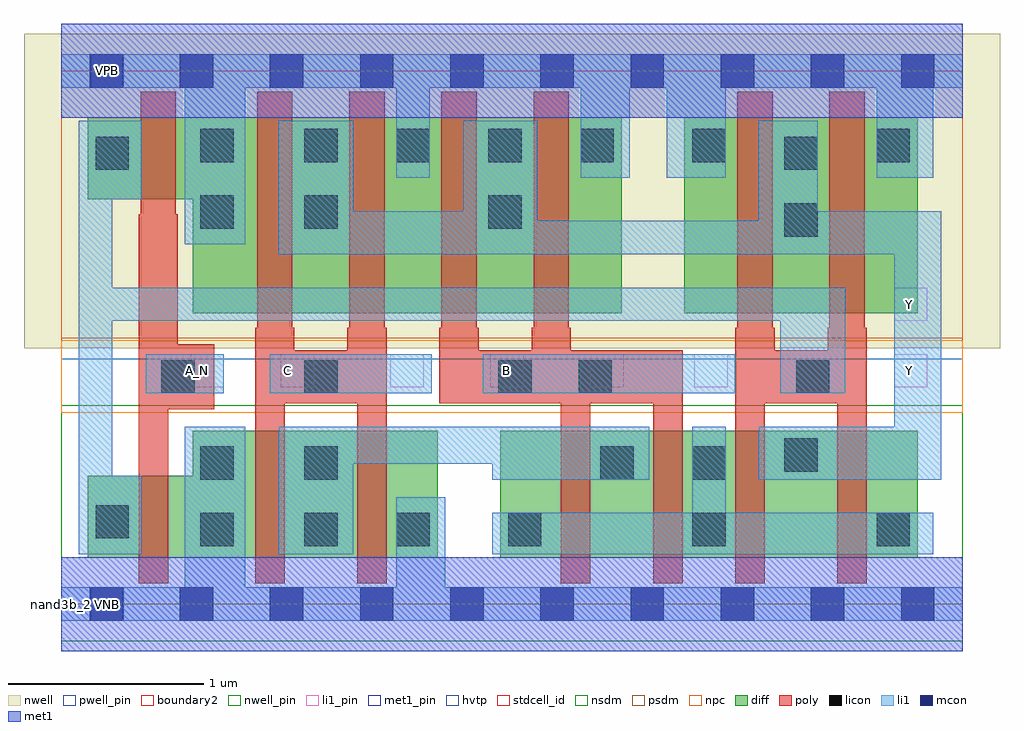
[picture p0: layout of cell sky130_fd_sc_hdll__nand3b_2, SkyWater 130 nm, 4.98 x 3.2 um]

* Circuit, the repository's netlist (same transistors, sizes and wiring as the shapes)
* Copyright 2020 The SkyWater PDK Authors
*
* Licensed under the Apache License, Version 2.0 (the "License");
* you may not use this file except in compliance with the License.
* You may obtain a copy of the License at
*
*     https://www.apache.org/licenses/LICENSE-2.0
*
* Unless required by applicable law or agreed to in writing, software
* distributed under the License is distributed on an "AS IS" BASIS,
* WITHOUT WARRANTIES OR CONDITIONS OF ANY KIND, either express or implied.
* See the License for the specific language governing permissions and
* limitations under the License.
*
* SPDX-License-Identifier: Apache-2.0

.SUBCKT sky130_fd_sc_hdll__nand3b_2 A_N B C VGND VNB VPB VPWR Y
*.PININFO A_N:I B:I C:I VGND:I VNB:I VPB:I VPWR:I Y:O
MMP0 Y A VPWR VPB sky130_fd_pr__pfet_01v8_hvt m=2 w=1.0U l=0.18U mult=1 sa=0.265
+ sb=0.265 sd=0.28 area=0.063 perim=1.14
MMP1 Y B VPWR VPB sky130_fd_pr__pfet_01v8_hvt m=2 w=1.0U l=0.18U mult=1 sa=0.265
+ sb=0.265 sd=0.28 area=0.063 perim=1.14
MMP2 Y C VPWR VPB sky130_fd_pr__pfet_01v8_hvt m=2 w=1.0U l=0.18U mult=1 sa=0.265
+ sb=0.265 sd=0.28 area=0.063 perim=1.14
MMIP0 A A_N VPWR VPB sky130_fd_pr__pfet_01v8_hvt m=1 w=0.42U l=0.18U mult=1 sa=0.265
+ sb=0.265 sd=0.28 area=0.063 perim=1.14
MMN0 Y A sndA VNB sky130_fd_pr__nfet_01v8 m=2 w=0.65U l=0.15U mult=1 sa=0.265 sb=0.265
+ sd=0.28 area=0.063 perim=1.14
MMN1 sndA B sndB VNB sky130_fd_pr__nfet_01v8 m=2 w=0.65U l=0.15U mult=1 sa=0.265
+ sb=0.265 sd=0.28 area=0.063 perim=1.14
MMN2 sndB C VGND VNB sky130_fd_pr__nfet_01v8 m=2 w=0.65U l=0.15U mult=1 sa=0.265
+ sb=0.265 sd=0.28 area=0.063 perim=1.14
MMIN0 A A_N VGND VNB sky130_fd_pr__nfet_01v8 m=1 w=0.42U l=0.15U mult=1 sa=0.265
+ sb=0.265 sd=0.28 area=0.063 perim=1.14
.ENDS sky130_fd_sc_hdll__nand3b_2

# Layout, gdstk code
import gdstk
lib = gdstk.Library(unit=1e-6, precision=1e-09)
def R(c, l, rs):  # rectangles x0, y0, x1, y1
    for r in rs: c.add(gdstk.rectangle(r[:2], r[2:], *l))
def A(c, l, x, y, w, h, nx, ny, dx, dy):  # array of equal rectangles
    R(c, l, [(x+i*dx, y+j*dy, x+i*dx+w, y+j*dy+h) for i in range(nx) for j in range(ny)])
def P(c, l, *ps):  # polygons
    for p in ps: c.add(gdstk.Polygon(p, *l))
nwell_pin = (64, 16)
nwell = (64, 20)
diff = (65, 20)
poly = (66, 20)
licon = (66, 44)
li1_pin = (67, 16)
li1 = (67, 20)
mcon = (67, 44)
met1_pin = (68, 16)
met1 = (68, 20)
hvtp = (78, 44)
stdcell_id = (81, 4)
nsdm = (93, 44)
psdm = (94, 20)
npc = (95, 20)
pwell_pin = (122, 16)
boundary2 = (236, 0)

sky130_fd_sc_hdll__nand3 = lib.new_cell('sky130_fd_sc_hdll__nand3b_2')
R(sky130_fd_sc_hdll__nand3, nwell_pin, [(0.15,2.635,0.32,2.805)])
R(sky130_fd_sc_hdll__nand3, nwell, [(-0.19,1.305,4.79,2.91)])
R(sky130_fd_sc_hdll__nand3, diff, [(2.24,0.235,4.37,0.885), (3.18,1.485,4.37,2.485)])
P(sky130_fd_sc_hdll__nand3, diff, [(2.86,2.485),(0.135,2.485),(0.135,2.065),(0.67,2.065),(0.67,1.485),(2.86,1.485)],
  [(1.92,0.885),(0.67,0.885),(0.67,0.655),(0.135,0.655),(0.135,0.235),(1.92,0.235)])
P(sky130_fd_sc_hdll__nand3, poly, [(0.78,1.325),(0.595,1.325),(0.595,1.99),(0.585,1.99),(0.585,2.615),(0.405,2.615),(0.405,1.99),(0.395,1.99),(0.395,0.105),(0.545,0.105),(0.545,0.995),(0.78,0.995)],
  [(1.66,1.41),(1.65,1.41),(1.65,2.615),(1.47,2.615),(1.47,1.41),(1.46,1.41),(1.46,1.295),(1.19,1.295),(1.19,1.41),(1.18,1.41),(1.18,2.615),(1,2.615),(1,1.41),(0.99,1.41),(0.99,0.105),(1.14,0.105),(1.14,1.025),(1.51,1.025),(1.51,0.105),(1.66,0.105)],
  [(3.17,1.295),(2.6,1.295),(2.6,1.41),(2.59,1.41),(2.59,2.615),(2.41,2.615),(2.41,1.41),(2.4,1.41),(2.4,1.295),(2.13,1.295),(2.13,1.41),(2.12,1.41),(2.12,2.615),(1.94,2.615),(1.94,1.41),(1.93,1.41),(1.93,1.025),(2.55,1.025),(2.55,0.105),(2.7,0.105),(2.7,1.025),(3.02,1.025),(3.02,0.105),(3.17,0.105)],
  [(4.11,1.41),(4.1,1.41),(4.1,2.615),(3.92,2.615),(3.92,1.41),(3.91,1.41),(3.91,1.295),(3.64,1.295),(3.64,1.41),(3.63,1.41),(3.63,2.615),(3.45,2.615),(3.45,1.41),(3.44,1.41),(3.44,0.105),(3.59,0.105),(3.59,1.025),(3.96,1.025),(3.96,0.105),(4.11,0.105)])
A(sky130_fd_sc_hdll__nand3, licon, 2.28, 0.295, 0.17, 0.17, 3, 1, 0.94, 0)
A(sky130_fd_sc_hdll__nand3, licon, 1.24, 2.255, 0.17, 0.17, 4, 1, 0.47, 0)
R(sky130_fd_sc_hdll__nand3, licon, [(0.71,0.295,0.88,0.465), (1.24,0.295,1.41,0.465), (1.71,0.295,1.88,0.465), (0.175,0.335,0.345,0.505), (0.71,0.635,0.88,0.805), (1.24,0.635,1.41,0.805), (2.75,0.635,2.92,0.805), (3.22,0.635,3.39,0.805), (3.69,0.675,3.86,0.845), (0.51,1.075,0.68,1.245), (1.24,1.075,1.41,1.245), (2.23,1.075,2.4,1.245), (2.64,1.075,2.81,1.245), (3.75,1.075,3.92,1.245), (3.69,1.875,3.86,2.045), (0.71,1.915,0.88,2.085), (1.24,1.915,1.41,2.085), (2.18,1.915,2.35,2.085), (0.175,2.215,0.345,2.385), (3.69,2.215,3.86,2.385), (0.71,2.255,0.88,2.425), (3.22,2.255,3.39,2.425), (4.16,2.255,4.33,2.425)])
A(sky130_fd_sc_hdll__nand3, li1_pin, 1.68, 1.105, 0.17, 0.17, 3, 1, 0.51, 0)
R(sky130_fd_sc_hdll__nand3, li1_pin, [(0.66,1.105,0.83,1.275), (1.12,1.105,1.29,1.275), (3.23,1.105,3.4,1.275), (4.25,1.105,4.42,1.275), (4.25,1.445,4.42,1.615)])
R(sky130_fd_sc_hdll__nand3, li1, [(0.43,1.075,0.83,1.275), (1.065,1.075,1.89,1.275), (2.15,1.075,3.44,1.275)])
P(sky130_fd_sc_hdll__nand3, li1, [(3,0.905),(1.11,0.905),(1.11,0.255),(1.49,0.255),(1.49,0.715),(2.2,0.715),(2.2,0.635),(3,0.635)],
  [(4,1.615),(0.26,1.615),(0.26,2.065),(0.41,2.065),(0.41,2.465),(0.09,2.465),(0.09,0.255),(0.41,0.255),(0.41,0.655),(0.26,0.655),(0.26,1.445),(3.67,1.445),(3.67,1.075),(4,1.075)],
  [(4.49,2.005),(3.86,2.005),(3.86,2.465),(3.56,2.465),(3.56,1.955),(2.43,1.955),(2.43,2.465),(2.05,2.465),(2.05,2.005),(1.49,2.005),(1.49,2.465),(1.11,2.465),(1.11,1.785),(4.25,1.785),(4.25,0.905),(3.56,0.905),(3.56,0.635),(4.49,0.635)],
  [(4.6,0.085),(1.96,0.085),(1.96,0.545),(1.71,0.545),(1.71,0.085),(0.94,0.085),(0.94,0.905),(0.63,0.905),(0.63,0.085),(0,0.085),(0,-0.085),(4.6,-0.085)],
  [(4.45,0.465),(3.39,0.465),(3.39,0.905),(3.22,0.905),(3.22,0.465),(2.2,0.465),(2.2,0.255),(4.45,0.255)],
  [(4.6,2.805),(0,2.805),(0,2.635),(0.63,2.635),(0.63,1.835),(0.94,1.835),(0.94,2.635),(1.71,2.635),(1.71,2.175),(1.88,2.175),(1.88,2.635),(2.65,2.635),(2.65,2.175),(2.9,2.175),(2.9,2.635),(3.09,2.635),(3.09,2.175),(3.39,2.175),(3.39,2.635),(4.16,2.635),(4.16,2.175),(4.45,2.175),(4.45,2.635),(4.6,2.635)])
A(sky130_fd_sc_hdll__nand3, mcon, 0.145, -0.085, 0.17, 0.17, 10, 2, 0.46, 2.72)
R(sky130_fd_sc_hdll__nand3, met1_pin, [(0.15,-0.085,0.32,0.085), (0.15,2.635,0.32,2.805)])
R(sky130_fd_sc_hdll__nand3, met1, [(0,-0.24,4.6,0.24), (0,2.48,4.6,2.96)])
R(sky130_fd_sc_hdll__nand3, hvtp, [(0,1.25,4.6,2.72)])
R(sky130_fd_sc_hdll__nand3, stdcell_id, [(0,0,4.6,2.72)])
R(sky130_fd_sc_hdll__nand3, nsdm, [(0,-0.19,4.6,1.015)])
R(sky130_fd_sc_hdll__nand3, psdm, [(0,1.355,4.6,2.91)])
R(sky130_fd_sc_hdll__nand3, npc, [(0,0.975,4.6,1.345)])
R(sky130_fd_sc_hdll__nand3, pwell_pin, [(0.15,-0.085,0.32,0.085)])
R(sky130_fd_sc_hdll__nand3, boundary2, [(0,0,4.6,2.72)])
sky130_fd_sc_hdll__nand3.add(gdstk.Label('Y', (4.33,1.19), layer=67, texttype=5))
sky130_fd_sc_hdll__nand3.add(gdstk.Label('C', (1.155,1.19), layer=67, texttype=5))
sky130_fd_sc_hdll__nand3.add(gdstk.Label('A_N', (0.695,1.19), layer=67, texttype=5))
sky130_fd_sc_hdll__nand3.add(gdstk.Label('B', (2.27,1.19), layer=67, texttype=5))
sky130_fd_sc_hdll__nand3.add(gdstk.Label('Y', (4.33,1.53), layer=67, texttype=5))
sky130_fd_sc_hdll__nand3.add(gdstk.Label('B', (2.27,1.19), layer=67, texttype=5))
sky130_fd_sc_hdll__nand3.add(gdstk.Label('VNB', (0.235,0), layer=64, texttype=59))
sky130_fd_sc_hdll__nand3.add(gdstk.Label('VPB', (0.235,2.72), layer=64, texttype=5))
sky130_fd_sc_hdll__nand3.add(gdstk.Label('VGND', (0.23,0), layer=68, texttype=5))
sky130_fd_sc_hdll__nand3.add(gdstk.Label('VPWR', (0.235,2.72), layer=68, texttype=5))
sky130_fd_sc_hdll__nand3.add(gdstk.Label('nand3b_2', (0,0), layer=83, texttype=44))

lib.write_gds('sky130_fd_sc_hdll__nand3b_2.gds')
